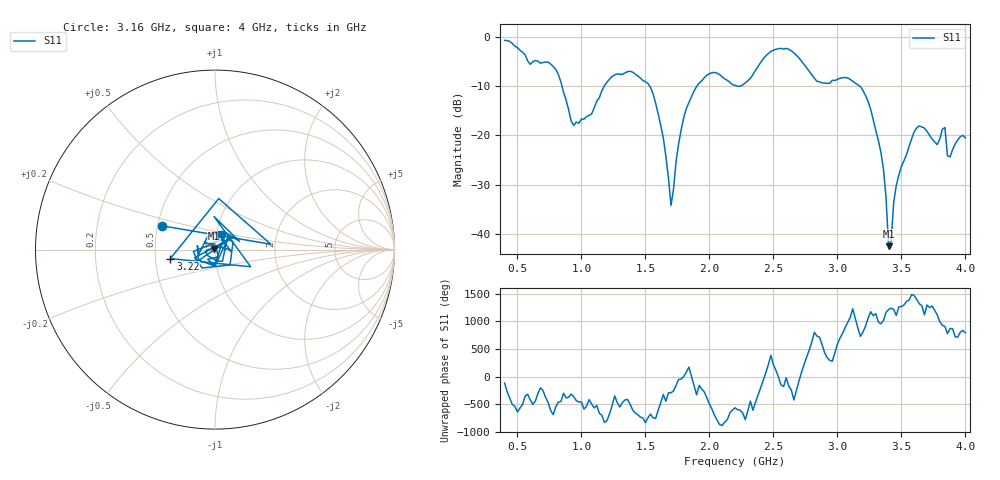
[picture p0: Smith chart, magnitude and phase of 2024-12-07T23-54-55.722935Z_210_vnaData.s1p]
!Created with skrf (http://scikit-rf.org).
# Hz S RI R 50.0
!freq ReS11 ImS11
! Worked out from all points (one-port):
!   181 points, 400 MHz to 4 GHz, reference 50 ohm
!   lowest |S11| = -42.4 dB at 3.4 GHz (marker M1), VSWR 1.02, Z = 49.5 + j0.558 ohm
!   |S11| at or under -10 dB: 848.2 MHz to 1.178 GHz (330.1 MHz wide, 32.6 % of centre); 1.534 GHz to 1.902 GHz (368.2 MHz wide, 21.4 % of centre); 3.174 GHz to end of sweep (the widest 3 of 4)
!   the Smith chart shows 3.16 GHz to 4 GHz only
!   S11 on the Smith chart (normalised r, x): 3.16 GHz: 0.53, +0.16; 3.22 GHz: 0.60, -0.06; 4 GHz: 1.05, +0.19
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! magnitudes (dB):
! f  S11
! 400 MHz  -0.8
! 760 MHz  -5.5
! 860 MHz  -11.2
! 940 MHz  -18.0
! 1.3 GHz  -7.6
! 1.56 GHz  -11.6
! 1.64 GHz  -20.5
! 1.7 GHz  -34.2
! 1.76 GHz  -21.6
! 1.82 GHz  -14.6
! 1.96 GHz  -8.3
! 2.2 GHz  -9.8
! 2.66 GHz  -3.3
! 2.84 GHz  -9.0
! 3.1 GHz  -8.6
! 3.16 GHz  -9.7
! 3.22 GHz  -11.9
! 3.34 GHz  -23.4
! 3.38 GHz  -32.6
! 3.4 GHz  -42.4
! 3.42 GHz  -41.4
! 3.46 GHz  -30.1
! 3.56 GHz  -22.2
! 3.64 GHz  -18.1
! 3.78 GHz  -21.9
! 3.84 GHz  -18.4
! 3.88 GHz  -24.3
! 4 GHz  -20.5
